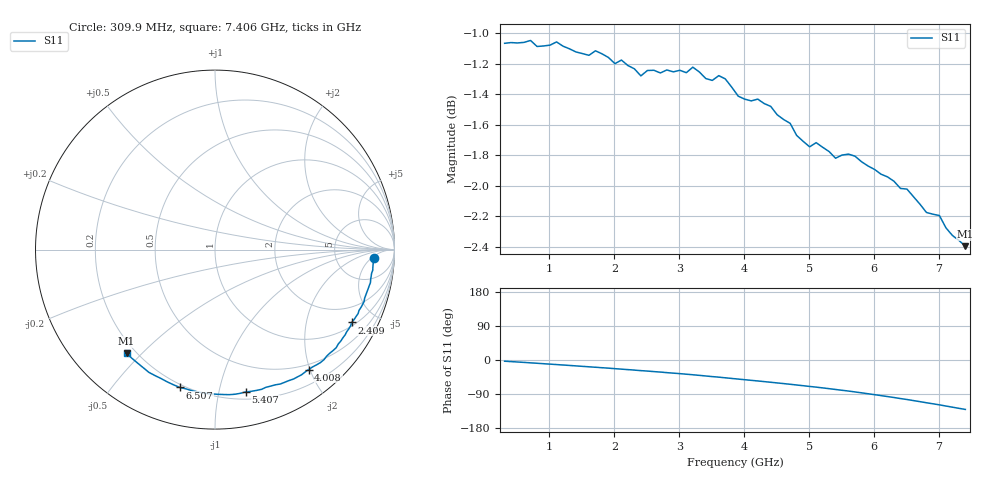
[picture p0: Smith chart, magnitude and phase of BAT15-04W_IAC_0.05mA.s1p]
! Infineon Technologies  Discrete & RF Semiconductors
! BAT15-04W-E6327
! IAC = 0.05 mA
! One-Port S-Parameters
# Hz  S  MA  R  50
!f  S11
!Hz  Mag  Ang
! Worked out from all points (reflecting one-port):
!   72 points, 309.9 MHz to 7.406 GHz, reference 50 ohm
!   lowest |S11| = -2.4 dB at 7.406 GHz (marker M1), VSWR 7.30, Z = 8.28 - j22.6 ohm
!   phase of S11 starts at -3 deg and turns -127 deg over the sweep
!   S11 on the Smith chart (normalised r, x): 309.9 MHz: 14, -6; 2.409 GHz: 1.15, -3.66; 4.008 GHz: 0.42, -1.98; 5.407 GHz: 0.26, -1.21; 6.507 GHz: 0.18, -0.76; 7.406 GHz: 0.17, -0.45
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3.0985e8  0.8845 -3.2
7.0965e8  0.8863 -7.5
1.2094e9  0.8825 -13.2
1.6092e9  0.8765 -18.0
1.70915e9  0.8795 -19.1
2.009e9  0.871 -22.9
2.10895e9  0.8733 -24.1
2.4088e9  0.863 -28.1
2.50875e9  0.8665 -29.2
3.0085e9  0.8666 -36.0
3.2084e9  0.8687 -39.0
3.50825e9  0.86 -43.8
3.6082e9  0.8631 -45.3
3.90805e9  0.8499 -50.4
4.008e9  0.848 -52.0
4.2079e9  0.848 -55.3
4.4078e9  0.8434 -58.8
4.70765e9  0.8326 -64.1
4.8076e9  0.8251 -65.9
5.10745e9  0.8206 -71.6
5.4073e9  0.811 -77.8
5.70715e9  0.8122 -84.3
6.007e9  0.8042 -91.5
6.2069e9  0.7997 -96.5
6.50675e9  0.7923 -104.3
6.6067e9  0.7878 -107.1
7.0065e9  0.7767 -118.4
7.4063e9  0.7589 -130.5
